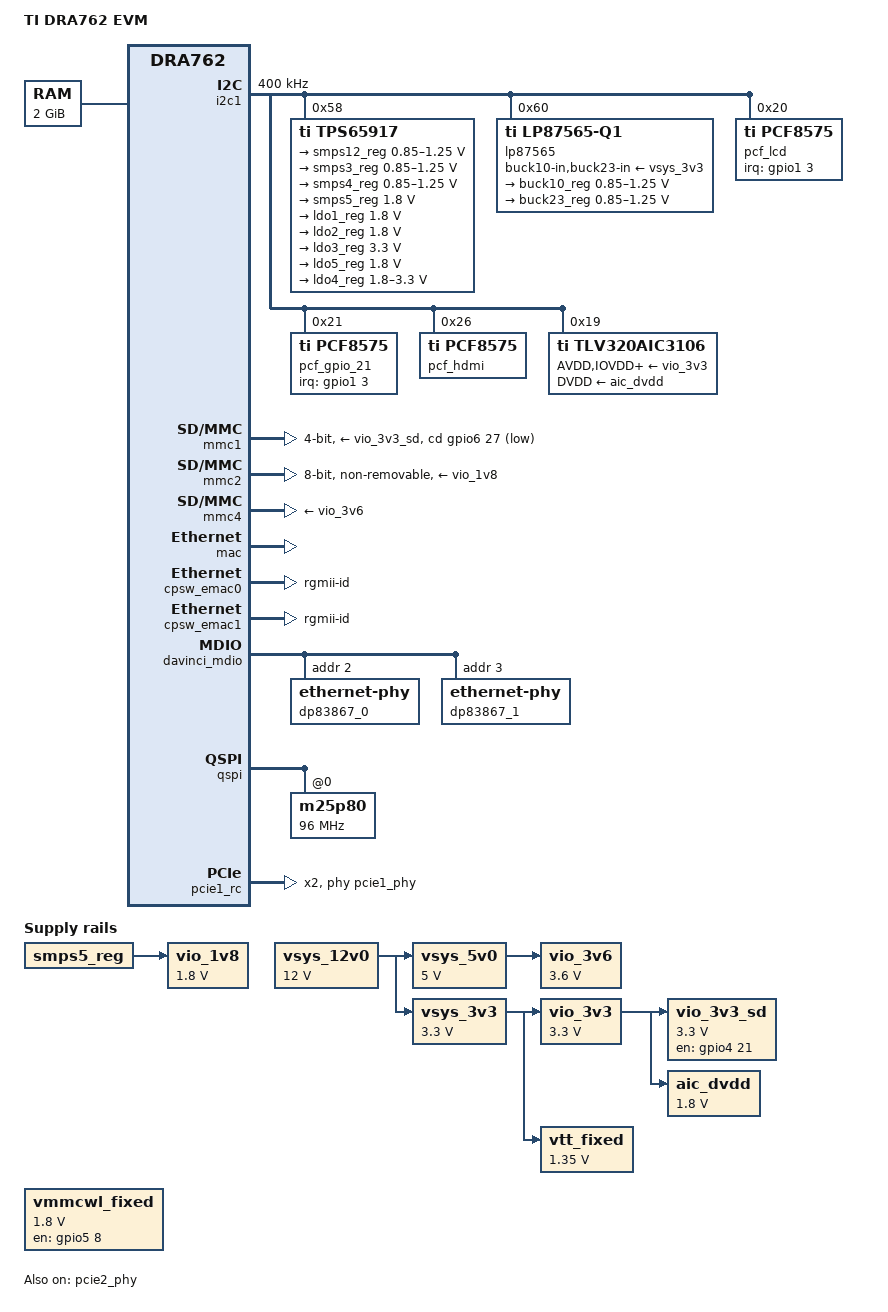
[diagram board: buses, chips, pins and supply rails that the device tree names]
/*
 * Copyright (C) 2017 Texas Instruments Incorporated - http://www.ti.com/
 *
 * This program is free software; you can redistribute it and/or modify
 * it under the terms of the GNU General Public License version 2 as
 * published by the Free Software Foundation.
 */
/dts-v1/;

#include "dra76x.dtsi"
#include "dra7-evm-common.dtsi"
#include "dra76x-mmc-iodelay.dtsi"
#include <dt-bindings/net/ti-dp83867.h>

/ {
	model = "TI DRA762 EVM";
	compatible = "ti,dra76-evm", "ti,dra762", "ti,dra7";

	memory@0 {
		device_type = "memory";
		reg = <0x0 0x80000000 0x0 0x80000000>;
	};

	vsys_12v0: fixedregulator-vsys12v0 {
		/* main supply */
		compatible = "regulator-fixed";
		regulator-name = "vsys_12v0";
		regulator-min-microvolt = <12000000>;
		regulator-max-microvolt = <12000000>;
		regulator-always-on;
		regulator-boot-on;
	};

	vsys_5v0: fixedregulator-vsys5v0 {
		/* Output of Cntlr B of TPS43351-Q1 on dra76-evm */
		compatible = "regulator-fixed";
		regulator-name = "vsys_5v0";
		regulator-min-microvolt = <5000000>;
		regulator-max-microvolt = <5000000>;
		vin-supply = <&vsys_12v0>;
		regulator-always-on;
		regulator-boot-on;
	};

	vio_3v6: fixedregulator-vio_3v6 {
		compatible = "regulator-fixed";
		regulator-name = "vio_3v6";
		regulator-min-microvolt = <3600000>;
		regulator-max-microvolt = <3600000>;
		vin-supply = <&vsys_5v0>;
		regulator-always-on;
		regulator-boot-on;
	};

	vsys_3v3: fixedregulator-vsys3v3 {
		/* Output of Cntlr A of TPS43351-Q1 on dra76-evm */
		compatible = "regulator-fixed";
		regulator-name = "vsys_3v3";
		regulator-min-microvolt = <3300000>;
		regulator-max-microvolt = <3300000>;
		vin-supply = <&vsys_12v0>;
		regulator-always-on;
		regulator-boot-on;
	};

	vio_3v3: fixedregulator-vio_3v3 {
		compatible = "regulator-fixed";
		regulator-name = "vio_3v3";
		regulator-min-microvolt = <3300000>;
		regulator-max-microvolt = <3300000>;
		vin-supply = <&vsys_3v3>;
		regulator-always-on;
		regulator-boot-on;
	};

	vio_3v3_sd: fixedregulator-sd {
		compatible = "regulator-fixed";
		regulator-name = "vio_3v3_sd";
		regulator-min-microvolt = <3300000>;
		regulator-max-microvolt = <3300000>;
		vin-supply = <&vio_3v3>;
		enable-active-high;
		gpio = <&gpio4 21 GPIO_ACTIVE_HIGH>;
	};

	vio_1v8: fixedregulator-vio_1v8 {
		compatible = "regulator-fixed";
		regulator-name = "vio_1v8";
		regulator-min-microvolt = <1800000>;
		regulator-max-microvolt = <1800000>;
		vin-supply = <&smps5_reg>;
	};

	vmmcwl_fixed: fixedregulator-mmcwl {
		compatible = "regulator-fixed";
		regulator-name = "vmmcwl_fixed";
		regulator-min-microvolt = <1800000>;
		regulator-max-microvolt = <1800000>;
		gpio = <&gpio5 8 0>;	/* gpio5_8 */
		startup-delay-us = <70000>;
		enable-active-high;
	};

	vtt_fixed: fixedregulator-vtt {
		compatible = "regulator-fixed";
		regulator-name = "vtt_fixed";
		regulator-min-microvolt = <1350000>;
		regulator-max-microvolt = <1350000>;
		vin-supply = <&vsys_3v3>;
		regulator-always-on;
		regulator-boot-on;
	};

	aic_dvdd: fixedregulator-aic_dvdd {
		/* TPS77018DBVT */
		compatible = "regulator-fixed";
		regulator-name = "aic_dvdd";
		vin-supply = <&vio_3v3>;
		regulator-min-microvolt = <1800000>;
		regulator-max-microvolt = <1800000>;
	};
};

&i2c1 {
	status = "okay";
	clock-frequency = <400000>;

	tps65917: tps65917@58 {
		compatible = "ti,tps65917";
		reg = <0x58>;
		ti,system-power-controller;
		ti,palmas-override-powerhold;
		interrupt-controller;
		#interrupt-cells = <2>;

		tps65917_pmic {
			compatible = "ti,tps65917-pmic";

			smps12-in-supply = <&vsys_3v3>;
			smps3-in-supply = <&vsys_3v3>;
			smps4-in-supply = <&vsys_3v3>;
			smps5-in-supply = <&vsys_3v3>;
			ldo1-in-supply = <&vsys_3v3>;
			ldo2-in-supply = <&vsys_3v3>;
			ldo3-in-supply = <&vsys_5v0>;
			ldo4-in-supply = <&vsys_5v0>;
			ldo5-in-supply = <&vsys_3v3>;

			tps65917_regulators: regulators {
				smps12_reg: smps12 {
					/* VDD_DSPEVE */
					regulator-name = "smps12";
					regulator-min-microvolt = <850000>;
					regulator-max-microvolt = <1250000>;
					regulator-always-on;
					regulator-boot-on;
				};

				smps3_reg: smps3 {
					/* VDD_CORE */
					regulator-name = "smps3";
					regulator-min-microvolt = <850000>;
					regulator-max-microvolt = <1250000>;
					regulator-boot-on;
					regulator-always-on;
				};

				smps4_reg: smps4 {
					/* VDD_IVA */
					regulator-name = "smps4";
					regulator-min-microvolt = <850000>;
					regulator-max-microvolt = <1250000>;
					regulator-always-on;
					regulator-boot-on;
				};

				smps5_reg: smps5 {
					/* VDDS1V8 */
					regulator-name = "smps5";
					regulator-min-microvolt = <1800000>;
					regulator-max-microvolt = <1800000>;
					regulator-boot-on;
					regulator-always-on;
				};

				ldo1_reg: ldo1 {
					/* LDO1_OUT --> VDA_PHY1_1V8  */
					regulator-name = "ldo1";
					regulator-min-microvolt = <1800000>;
					regulator-max-microvolt = <1800000>;
					regulator-always-on;
					regulator-boot-on;
					regulator-allow-bypass;
				};

				ldo2_reg: ldo2 {
					/* LDO2_OUT --> VDA_PHY2_1V8 */
					regulator-name = "ldo2";
					regulator-min-microvolt = <1800000>;
					regulator-max-microvolt = <1800000>;
					regulator-allow-bypass;
					regulator-always-on;
				};

				ldo3_reg: ldo3 {
					/* VDA_USB_3V3 */
					regulator-name = "ldo3";
					regulator-min-microvolt = <3300000>;
					regulator-max-microvolt = <3300000>;
					regulator-boot-on;
					regulator-always-on;
				};

				ldo5_reg: ldo5 {
					/* VDDA_1V8_PLL */
					regulator-name = "ldo5";
					regulator-min-microvolt = <1800000>;
					regulator-max-microvolt = <1800000>;
					regulator-always-on;
					regulator-boot-on;
				};

				ldo4_reg: ldo4 {
					/* VDD_SDIO_DV */
					regulator-name = "ldo4";
					regulator-min-microvolt = <1800000>;
					regulator-max-microvolt = <3300000>;
					regulator-boot-on;
					regulator-always-on;
				};
			};
		};

		tps65917_power_button {
			compatible = "ti,palmas-pwrbutton";
			interrupt-parent = <&tps65917>;
			interrupts = <1 IRQ_TYPE_NONE>;
			wakeup-source;
			ti,palmas-long-press-seconds = <6>;
		};
	};

	lp87565: lp87565@60 {
		compatible = "ti,lp87565-q1";
		reg = <0x60>;

		buck10-in-supply =<&vsys_3v3>;
		buck23-in-supply =<&vsys_3v3>;

		regulators: regulators {
			buck10_reg: buck10 {
				/*VDD_MPU*/
				regulator-name = "buck10";
				regulator-min-microvolt = <850000>;
				regulator-max-microvolt = <1250000>;
				regulator-always-on;
				regulator-boot-on;
			};

			buck23_reg: buck23 {
				/* VDD_GPU*/
				regulator-name = "buck23";
				regulator-min-microvolt = <850000>;
				regulator-max-microvolt = <1250000>;
				regulator-boot-on;
				regulator-always-on;
			};
		};
	};

	pcf_lcd: pcf8757@20 {
		compatible = "ti,pcf8575", "nxp,pcf8575";
		reg = <0x20>;
		gpio-controller;
		#gpio-cells = <2>;
		interrupt-controller;
		#interrupt-cells = <2>;
		interrupt-parent = <&gpio1>;
		interrupts = <3 IRQ_TYPE_EDGE_FALLING>;
	};

	pcf_gpio_21: pcf8757@21 {
		compatible = "ti,pcf8575", "nxp,pcf8575";
		reg = <0x21>;
		gpio-controller;
		#gpio-cells = <2>;
		interrupt-parent = <&gpio1>;
		interrupts = <3 IRQ_TYPE_EDGE_FALLING>;
		interrupt-controller;
		#interrupt-cells = <2>;
	};

	pcf_hdmi: pcf8575@26 {
		compatible = "ti,pcf8575", "nxp,pcf8575";
		reg = <0x26>;
		gpio-controller;
		#gpio-cells = <2>;
		p1 {
			/* vin6_sel_s0: high: VIN6, low: audio */
			gpio-hog;
			gpios = <1 GPIO_ACTIVE_HIGH>;
			output-low;
			line-name = "vin6_sel_s0";
		};
	};

	tlv320aic3106: tlv320aic3106@19 {
		#sound-dai-cells = <0>;
		compatible = "ti,tlv320aic3106";
		reg = <0x19>;
		adc-settle-ms = <40>;
		ai3x-micbias-vg = <1>;		/* 2.0V */
		status = "okay";

		/* Regulators */
		AVDD-supply = <&vio_3v3>;
		IOVDD-supply = <&vio_3v3>;
		DRVDD-supply = <&vio_3v3>;
		DVDD-supply = <&aic_dvdd>;
	};
};

&cpu0 {
	vdd-supply = <&buck10_reg>;
};

&mmc1 {
	status = "okay";
	vmmc-supply = <&vio_3v3_sd>;
	vqmmc-supply = <&ldo4_reg>;
	bus-width = <4>;
	/*
	 * SDCD signal is not being used here - using the fact that GPIO mode
	 * is always hardwired.
	 */
	cd-gpios = <&gpio6 27 GPIO_ACTIVE_LOW>;
	pinctrl-names = "default", "hs";
	pinctrl-0 = <&mmc1_pins_default>;
	pinctrl-1 = <&mmc1_pins_hs>;
};

&mmc2 {
	status = "okay";
	vmmc-supply = <&vio_1v8>;
	vqmmc-supply = <&vio_1v8>;
	bus-width = <8>;
	non-removable;
	pinctrl-names = "default", "hs", "ddr_1_8v", "hs200_1_8v";
	pinctrl-0 = <&mmc2_pins_default>;
	pinctrl-1 = <&mmc2_pins_default>;
	pinctrl-2 = <&mmc2_pins_default>;
	pinctrl-3 = <&mmc2_pins_hs200 &mmc2_iodelay_hs200_conf>;
};

&mmc4 {
	status = "okay";
	vmmc-supply = <&vio_3v6>;
	vqmmc-supply = <&vmmcwl_fixed>;
	pinctrl-names = "default", "hs", "sdr12", "sdr25";
	pinctrl-0 = <&mmc4_pins_hs &mmc4_iodelay_default_conf>;
	pinctrl-1 = <&mmc4_pins_hs &mmc4_iodelay_manual1_conf>;
	pinctrl-2 = <&mmc4_pins_hs &mmc4_iodelay_manual1_conf>;
	pinctrl-3 = <&mmc4_pins_hs &mmc4_iodelay_manual1_conf>;
};

/* No RTC on this device */
&rtc {
	status = "disabled";
};

&mac {
	status = "okay";

	dual_emac;
};

&cpsw_emac0 {
	phy_id = <&davinci_mdio>, <2>;
	phy-mode = "rgmii-id";
	dual_emac_res_vlan = <1>;
};

&cpsw_emac1 {
	phy_id = <&davinci_mdio>, <3>;
	phy-mode = "rgmii-id";
	dual_emac_res_vlan = <2>;
};

&davinci_mdio {
	dp83867_0: ethernet-phy@2 {
		reg = <2>;
		ti,rx-internal-delay = <DP83867_RGMIIDCTL_2_25_NS>;
		ti,tx-internal-delay = <DP83867_RGMIIDCTL_250_PS>;
		ti,fifo-depth = <DP83867_PHYCR_FIFO_DEPTH_8_B_NIB>;
		ti,min-output-impedance;
		ti,dp83867-rxctrl-strap-quirk;
	};

	dp83867_1: ethernet-phy@3 {
		reg = <3>;
		ti,rx-internal-delay = <DP83867_RGMIIDCTL_2_25_NS>;
		ti,tx-internal-delay = <DP83867_RGMIIDCTL_250_PS>;
		ti,fifo-depth = <DP83867_PHYCR_FIFO_DEPTH_8_B_NIB>;
		ti,min-output-impedance;
		ti,dp83867-rxctrl-strap-quirk;
	};
};

&usb2_phy1 {
	phy-supply = <&ldo3_reg>;
};

&usb2_phy2 {
	phy-supply = <&ldo3_reg>;
};

&qspi {
	spi-max-frequency = <96000000>;
	m25p80@0 {
		spi-max-frequency = <96000000>;
	};
};

&pcie2_phy {
	status = "okay";
};

&pcie1_rc {
	num-lanes = <2>;
	phys = <&pcie1_phy>, <&pcie2_phy>;
	phy-names = "pcie-phy0", "pcie-phy1";
};

&pcie1_ep {
	num-lanes = <2>;
	phys = <&pcie1_phy>, <&pcie2_phy>;
	phy-names = "pcie-phy0", "pcie-phy1";
};

&extcon_usb1 {
	vbus-gpio = <&pcf_lcd 14 GPIO_ACTIVE_HIGH>;
};

&extcon_usb2 {
	vbus-gpio = <&pcf_lcd 15 GPIO_ACTIVE_HIGH>;
};

&m_can0 {
	can-transceiver {
		max-bitrate = <5000000>;
	};
};
